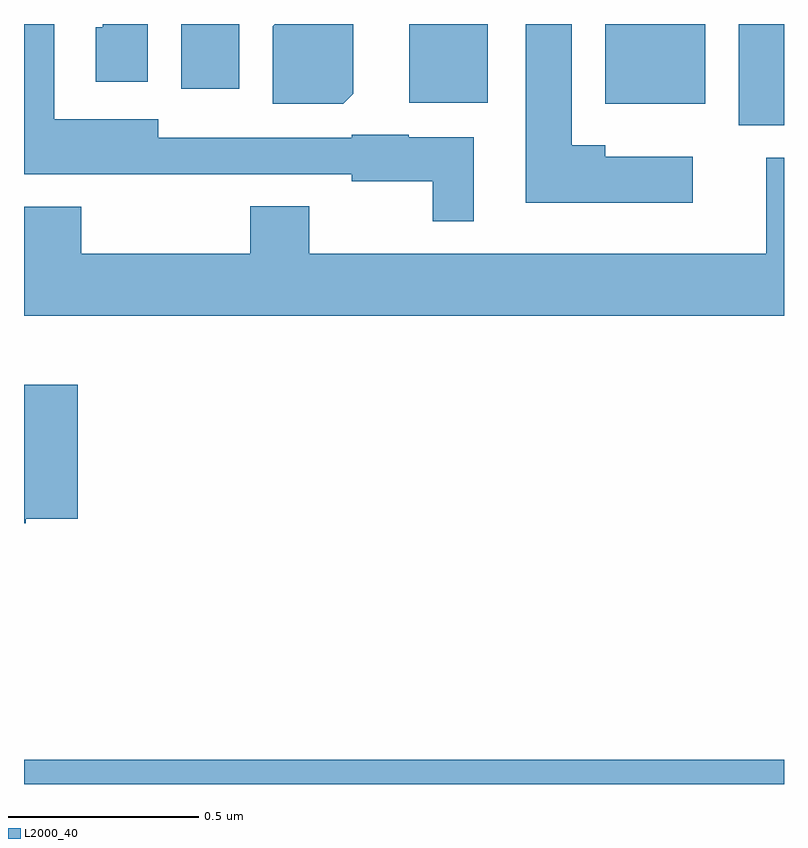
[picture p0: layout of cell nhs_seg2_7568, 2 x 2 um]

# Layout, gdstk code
import gdstk
lib = gdstk.Library(unit=1e-6, precision=1e-09)
def R(c, l, rs):  # rectangles x0, y0, x1, y1
    for r in rs: c.add(gdstk.rectangle(r[:2], r[2:], *l))
def P(c, l, *ps):  # polygons
    for p in ps: c.add(gdstk.Polygon(p, *l))
L2000_40 = (2000, 40)

nhs_seg2_7568 = lib.new_cell('nhs_seg2_7568')
R(nhs_seg2_7568, L2000_40, [(206,583.8,208,583.864), (207.881,585.533,208,585.8), (207.53,585.59,207.793,585.8), (207.014,585.593,207.22,585.8), (206.414,585.63,206.566,585.8)])
P(nhs_seg2_7568, L2000_40, [(206.866,585.616),(206.866,585.8),(206.66,585.8),(206.654,585.794),(206.654,585.59),(206.84,585.59)],
  [(206.326,585.8),(206.207,585.8),(206.207,585.792),(206.189,585.792),(206.189,585.648),(206.326,585.648)],
  [(207.76,585.451),(207.529,585.451),(207.529,585.481),(207.442,585.481),(207.442,585.8),(207.32,585.8),(207.32,585.329),(207.76,585.329)],
  [(207.184,585.502),(207.012,585.502),(207.012,585.508),(206.862,585.508),(206.862,585.501),(206.353,585.501),(206.353,585.55),(206.079,585.55),(206.079,585.8),(206,585.8),(206,585.404),(206.345,585.404),(206.345,585.405),(206.862,585.405),(206.862,585.386),(207.075,585.386),(207.075,585.281),(207.184,585.281)],
  [(208,585.448),(207.953,585.448),(207.953,585.196),(206.751,585.196),(206.751,585.32),(206.596,585.32),(206.596,585.196),(206.151,585.196),(206.151,585.319),(206,585.319),(206,585.032),(208,585.032)],
  [(206.004,584.498),(206.141,584.498),(206.141,584.851),(206,584.851),(206,584.486),(206.004,584.486)])

lib.write_gds('nhs_seg2_7568.gds')
